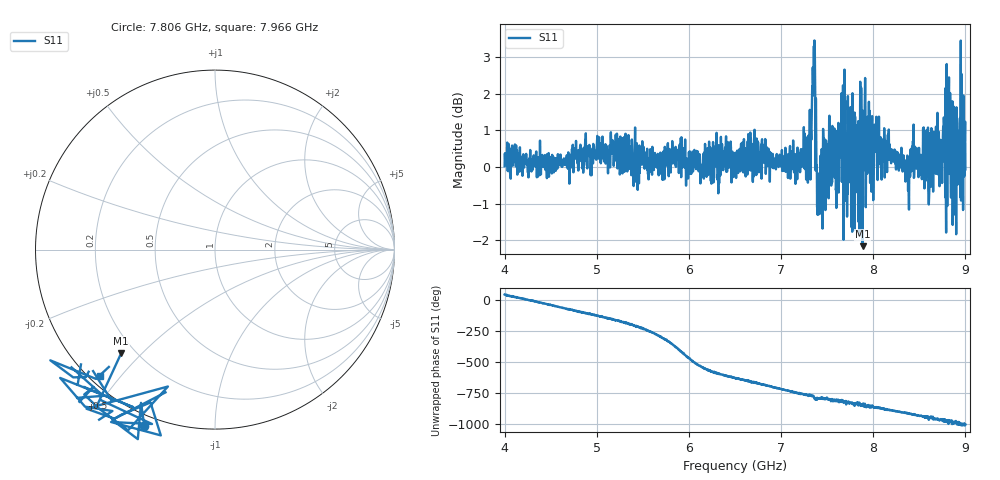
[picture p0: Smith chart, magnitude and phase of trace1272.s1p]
! Created with skrf 1.8.0 (http://scikit-rf.org).
# Hz S RI R 50.0
!freq ReS11 ImS11
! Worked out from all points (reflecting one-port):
!   1601 points, 4 GHz to 9 GHz, reference 50 ohm
!   lowest |S11| = -2.2 dB at 7.884 GHz (marker M1), VSWR 8.09, Z = 7.37 - j21.8 ohm
!   phase of S11 starts at 48 deg and turns -1054 deg over the sweep
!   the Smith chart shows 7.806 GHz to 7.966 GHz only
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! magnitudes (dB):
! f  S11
! 4 GHz  0.0
! 4.625 GHz  0.0
! 5.25 GHz  -0.2
! 5.709 GHz  0.0
! 5.875 GHz  0.4
! 6.5 GHz  0.4
! 7.125 GHz  0.1
! 7.294 GHz  0.5
! 7.356 GHz  3.3
! 7.397 GHz  -1.3
! 7.409 GHz  -1.3
! 7.512 GHz  0.6
! 7.609 GHz  0.2
! 7.647 GHz  0.6
! 7.75 GHz  0.5
! 7.784 GHz  -0.1
! 7.8 GHz  -1.7
! 7.825 GHz  0.7
! 7.884 GHz  -2.2
! 8.375 GHz  0.1
! 8.444 GHz  -0.3
! 8.625 GHz  -0.2
! 8.656 GHz  1.0
! 8.766 GHz  1.4
! 8.822 GHz  2.4
! 8.856 GHz  -0.4
! 8.959 GHz  2.5
! 9 GHz  -0.1
